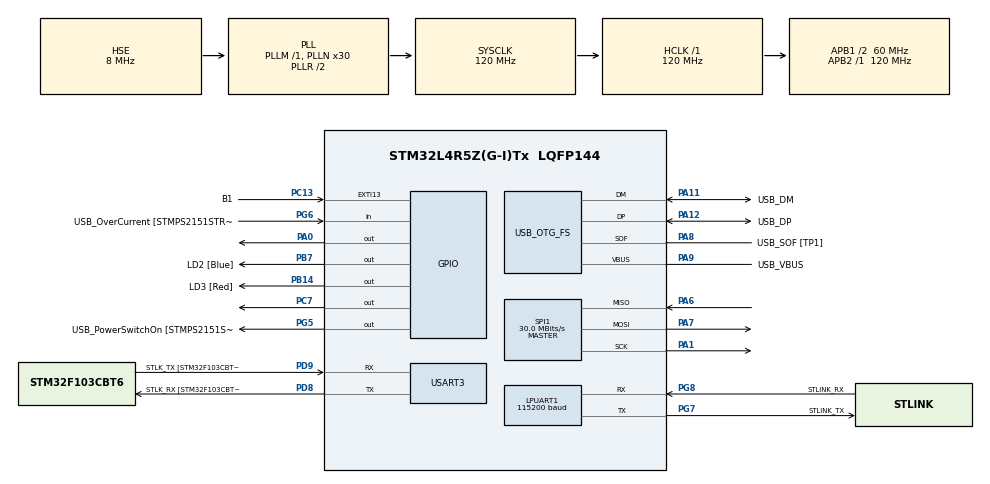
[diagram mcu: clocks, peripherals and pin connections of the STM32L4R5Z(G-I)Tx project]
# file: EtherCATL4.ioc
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LPUART1.BaudRate=115200
LPUART1.WordLength=UART_WORDLENGTH_8B
Mcu.Family=STM32L4
Mcu.Name=STM32L4R5Z(G-I)Tx
Mcu.Package=LQFP144
NVIC.PriorityGroup=NVIC_PRIORITYGROUP_4
PA0.GPIO_PuPd=GPIO_PULLUP
PA0.GPIO_Speed=GPIO_SPEED_FREQ_VERY_HIGH
PA0.PinState=GPIO_PIN_SET
PA0.Signal=GPIO_Output
PA1.Mode=Full_Duplex_Master
PA1.Signal=SPI1_SCK
PA10.GPIO_Label=USB_ID
PA10.Signal=USB_OTG_FS_ID
PA11.GPIO_Label=USB_DM
PA11.Mode=Device_Only
PA11.Signal=USB_OTG_FS_DM
PA12.GPIO_Label=USB_DP
PA12.Mode=Device_Only
PA12.Signal=USB_OTG_FS_DP
PA13\ (JTMS/SWDIO).GPIO_Label=TMS
PA13\ (JTMS/SWDIO).Mode=Trace_Asynchronous_SW
PA13\ (JTMS/SWDIO).Signal=SYS_JTMS-SWDIO
PA14\ (JTCK/SWCLK).GPIO_Label=TCK
PA14\ (JTCK/SWCLK).Mode=Trace_Asynchronous_SW
PA14\ (JTCK/SWCLK).Signal=SYS_JTCK-SWCLK
PA6.Mode=Full_Duplex_Master
PA6.Signal=SPI1_MISO
PA7.Mode=Full_Duplex_Master
PA7.Signal=SPI1_MOSI
PA8.GPIO_Label=USB_SOF [TP1]
PA8.Mode=Activate_SOF_FS
PA8.Signal=USB_OTG_FS_SOF
PA9.GPIO_Label=USB_VBUS
PA9.Mode=Activate_VBUS
PA9.Signal=USB_OTG_FS_VBUS
PB14.GPIO_Label=LD3 [Red]
PB14.GPIO_PuPd=GPIO_PULLUP
PB14.Signal=GPIO_Output
PB3\ (JTDO/TRACESWO).GPIO_Label=SWO
PB3\ (JTDO/TRACESWO).Mode=Trace_Asynchronous_SW
PB3\ (JTDO/TRACESWO).Signal=SYS_JTDO-SWO
PB7.GPIO_Label=LD2 [Blue]
PB7.GPIO_PuPd=GPIO_PULLUP
PB7.Signal=GPIO_Output
PC13.GPIO_Label=B1
PC13.Signal=GPXTI13
PC14-OSC32_IN\ (PC14).Mode=LSE-External-Oscillator
PC14-OSC32_IN\ (PC14).Signal=RCC_OSC32_IN
PC15-OSC32_OUT\ (PC15).Mode=LSE-External-Oscillator
PC15-OSC32_OUT\ (PC15).Signal=RCC_OSC32_OUT
PC7.GPIO_PuPd=GPIO_PULLUP
PC7.Signal=GPIO_Output
PD8.GPIO_Label=STLK_RX [STM32F103CBT6_PA3]
PD8.Mode=Asynchronous
PD8.Signal=USART3_TX
PD9.GPIO_Label=STLK_TX [STM32F103CBT6_PA2]
PD9.Mode=Asynchronous
PD9.Signal=USART3_RX
PG5.GPIO_Label=USB_PowerSwitchOn [STMPS2151STR_EN]
PG5.Signal=GPIO_Output
PG6.GPIO_Label=USB_OverCurrent [STMPS2151STR_FAULT]
PG6.Signal=GPIO_Input
PG7.GPIO_Label=STLINK_TX
PG7.Mode=Asynchronous
PG7.Signal=LPUART1_TX
PG8.GPIO_Label=STLINK_RX
PG8.Mode=Asynchronous
PG8.Signal=LPUART1_RX
PH0-OSC_IN\ (PH0).Mode=HSE-External-Clock-Source
PH0-OSC_IN\ (PH0).Signal=RCC_OSC_IN
PH1-OSC_OUT\ (PH1).Signal=RCC_OSC_OUT
ProjectManager.HeapSize=0x200
ProjectManager.StackSize=0x400
ProjectManager.TargetToolchain=STM32CubeIDE
RCC.48MHZClocksFreq_Value=24000000
RCC.ADCFreq_Value=48000000
RCC.AHBFreq_Value=120000000
RCC.APB1CLKDivider=RCC_HCLK_DIV2
RCC.APB1Freq_Value=60000000
RCC.APB1TimFreq_Value=120000000
RCC.APB2Freq_Value=120000000
RCC.APB2TimFreq_Value=120000000
RCC.CortexFreq_Value=120000000
RCC.HCLKFreq_Value=120000000
RCC.HSE_VALUE=8000000
RCC.HSI48_VALUE=48000000
RCC.HSI_VALUE=16000000
RCC.MSI_VALUE=4000000
RCC.PLLMUL=RCC_PLL_MUL9
RCC.PLLN=30
RCC.PLLSAI1N=12
RCC.PLLSourceVirtual=RCC_PLLSOURCE_HSE
RCC.PRESCALERUSB=RCC_USBCLKSOURCE_PLL_DIV1_5
RCC.SYSCLKFreq_VALUE=120000000
RCC.SYSCLKSource=RCC_SYSCLKSOURCE_PLLCLK
RCC.SYSCLKSourceVirtual=RCC_SYSCLKSOURCE_PLLCLK
RCC.USBFreq_Value=48000000
RCC.VCOOutputFreq_Value=240000000
SPI1.BaudRatePrescaler=SPI_BAUDRATEPRESCALER_4
SPI1.CalculateBaudRate=30.0 MBits/s
SPI1.DataSize=SPI_DATASIZE_8BIT
SPI1.Direction=SPI_DIRECTION_2LINES
SPI1.Mode=SPI_MODE_MASTER
SPI1.VirtualType=VM_MASTER
USART3.VirtualMode-Asynchronous=VM_ASYNC
USB_OTG_FS.VirtualMode=Device_Only
board=NUCLEO-L4R5ZI

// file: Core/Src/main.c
/* USER CODE BEGIN Header */
/**
  ******************************************************************************
  * @file           : main.c
  * @brief          : Main program body
  ******************************************************************************
  * @attention
  *
  * <h2><center>&copy; Copyright (c) 2020 STMicroelectronics.
  * All rights reserved.</center></h2>
  *
  * This software component is licensed by ST under BSD 3-Clause license,
  * the "License"; You may not use this file except in compliance with the
  * License. You may obtain a copy of the License at:
  *                        opensource.org/licenses/BSD-3-Clause
  *
  ******************************************************************************
  */
/* USER CODE END Header */

#include "main.h"

/* USER CODE BEGIN Includes */
#include <stdio.h>							//just add
#include "App\ecat_slv.h"
#include "App\utypes.h"
/* USER CODE END Includes */

UART_HandleTypeDef hlpuart1;
UART_HandleTypeDef huart3;

SPI_HandleTypeDef hspi1;

PCD_HandleTypeDef hpcd_USB_OTG_FS;

/* USER CODE BEGIN PV */
_Objects    Obj;								//Just add

/* USER CODE END PV */

void SystemClock_Config(void);
static void MX_GPIO_Init(void);
static void MX_LPUART1_UART_Init(void);
static void MX_USART3_UART_Init(void);
static void MX_USB_OTG_FS_PCD_Init(void);
static void MX_SPI1_Init(void);
/* USER CODE BEGIN PFP */
void cb_get_inputs (void)					//just add
{
	if (Obj.LEDs.LED0 == 1) {
		Obj.Button_Record.Button1 = 1;
		HAL_GPIO_WritePin(GPIOB, GPIO_PIN_14, GPIO_PIN_SET);
	}
	else {
		Obj.Button_Record.Button1 = 0;
		HAL_GPIO_WritePin(GPIOB, GPIO_PIN_14, GPIO_PIN_RESET);
	}

	if (Obj.LEDs.LED1== 1) {
		Obj.Button_Record.Button2 = 1;
		HAL_GPIO_WritePin(GPIOB, GPIO_PIN_7, GPIO_PIN_SET);
	}
	else {
		Obj.Button_Record.Button2 = 0;
		HAL_GPIO_WritePin(GPIOB, GPIO_PIN_7, GPIO_PIN_RESET);
	}

	Obj.Button_Variable = Obj.Led_Variable;
}

void cb_set_outputs (void)
{
}
/* USER CODE END PFP */

int main(void)
{

  /* MCU Configuration--------------------------------------------------------*/

  /* Reset of all peripherals, Initializes the Flash interface and the Systick. */
  HAL_Init();

  /* Configure the system clock */
  SystemClock_Config();

  /* Initialize all configured peripherals */
  MX_GPIO_Init();
  MX_LPUART1_UART_Init();
  MX_USART3_UART_Init();
  MX_USB_OTG_FS_PCD_Init();
  MX_SPI1_Init();
  /* USER CODE BEGIN 2 */
  static esc_cfg_t config =						//just add
  {
     .user_arg = "/dev/lan9252",
     .use_interrupt = 0,
     .watchdog_cnt = 65000,
     .set_defaults_hook = NULL,
     .pre_state_change_hook = NULL,
     .post_state_change_hook = NULL,
     .application_hook = NULL,
     .safeoutput_override = NULL,
     .pre_object_download_hook = NULL,
     .post_object_download_hook = NULL,
     .rxpdo_override = NULL,
     .txpdo_override = NULL,
     .esc_hw_interrupt_enable = NULL,
     .esc_hw_interrupt_disable = NULL,
     .esc_hw_eep_handler = NULL,
     .esc_check_dc_handler = NULL,
  };

  ecat_slv_init (&config);
  DPRINT("Hello Main\n");

  /* USER CODE END 2 */

  /* Infinite loop */
  /* USER CODE BEGIN WHILE */
  while (1)
  {
	  ecat_slv();								//just add

    /* USER CODE END WHILE */

  }
}

void SystemClock_Config(void)
{
  RCC_OscInitTypeDef RCC_OscInitStruct = {0};
  RCC_ClkInitTypeDef RCC_ClkInitStruct = {0};
  RCC_PeriphCLKInitTypeDef PeriphClkInit = {0};

  /** Configure the main internal regulator output voltage
  */
  if (HAL_PWREx_ControlVoltageScaling(PWR_REGULATOR_VOLTAGE_SCALE1_BOOST) != HAL_OK)
  {
    Error_Handler();
  }
  /** Initializes the CPU, AHB and APB busses clocks
  */
  RCC_OscInitStruct.OscillatorType = RCC_OSCILLATORTYPE_HSE;
  RCC_OscInitStruct.HSEState = RCC_HSE_BYPASS;
  RCC_OscInitStruct.PLL.PLLState = RCC_PLL_ON;
  RCC_OscInitStruct.PLL.PLLSource = RCC_PLLSOURCE_HSE;
  RCC_OscInitStruct.PLL.PLLM = 1;
  RCC_OscInitStruct.PLL.PLLN = 30;
  RCC_OscInitStruct.PLL.PLLP = RCC_PLLP_DIV2;
  RCC_OscInitStruct.PLL.PLLQ = RCC_PLLQ_DIV2;
  RCC_OscInitStruct.PLL.PLLR = RCC_PLLR_DIV2;
  if (HAL_RCC_OscConfig(&RCC_OscInitStruct) != HAL_OK)
  {
    Error_Handler();
  }
  /** Initializes the CPU, AHB and APB busses clocks
  */
  RCC_ClkInitStruct.ClockType = RCC_CLOCKTYPE_HCLK|RCC_CLOCKTYPE_SYSCLK
                              |RCC_CLOCKTYPE_PCLK1|RCC_CLOCKTYPE_PCLK2;
  RCC_ClkInitStruct.SYSCLKSource = RCC_SYSCLKSOURCE_PLLCLK;
  RCC_ClkInitStruct.AHBCLKDivider = RCC_SYSCLK_DIV1;
  RCC_ClkInitStruct.APB1CLKDivider = RCC_HCLK_DIV2;
  RCC_ClkInitStruct.APB2CLKDivider = RCC_HCLK_DIV1;

  if (HAL_RCC_ClockConfig(&RCC_ClkInitStruct, FLASH_LATENCY_5) != HAL_OK)
  {
    Error_Handler();
  }
  PeriphClkInit.PeriphClockSelection = RCC_PERIPHCLK_USART3|RCC_PERIPHCLK_LPUART1
                              |RCC_PERIPHCLK_USB;
  PeriphClkInit.Usart3ClockSelection = RCC_USART3CLKSOURCE_PCLK1;
  PeriphClkInit.Lpuart1ClockSelection = RCC_LPUART1CLKSOURCE_PCLK1;
  PeriphClkInit.UsbClockSelection = RCC_USBCLKSOURCE_PLLSAI1;
  PeriphClkInit.PLLSAI1.PLLSAI1Source = RCC_PLLSOURCE_HSE;
  PeriphClkInit.PLLSAI1.PLLSAI1M = 1;
  PeriphClkInit.PLLSAI1.PLLSAI1N = 12;
  PeriphClkInit.PLLSAI1.PLLSAI1P = RCC_PLLP_DIV2;
  PeriphClkInit.PLLSAI1.PLLSAI1Q = RCC_PLLQ_DIV2;
  PeriphClkInit.PLLSAI1.PLLSAI1R = RCC_PLLR_DIV2;
  PeriphClkInit.PLLSAI1.PLLSAI1ClockOut = RCC_PLLSAI1_48M2CLK;
  if (HAL_RCCEx_PeriphCLKConfig(&PeriphClkInit) != HAL_OK)
  {
    Error_Handler();
  }
}

static void MX_LPUART1_UART_Init(void)
{

  hlpuart1.Instance = LPUART1;
  hlpuart1.Init.BaudRate = 115200;
  hlpuart1.Init.WordLength = UART_WORDLENGTH_8B;
  hlpuart1.Init.StopBits = UART_STOPBITS_1;
  hlpuart1.Init.Parity = UART_PARITY_NONE;
  hlpuart1.Init.Mode = UART_MODE_TX_RX;
  hlpuart1.Init.HwFlowCtl = UART_HWCONTROL_NONE;
  hlpuart1.Init.OneBitSampling = UART_ONE_BIT_SAMPLE_DISABLE;
  hlpuart1.Init.ClockPrescaler = UART_PRESCALER_DIV1;
  hlpuart1.AdvancedInit.AdvFeatureInit = UART_ADVFEATURE_NO_INIT;
  hlpuart1.FifoMode = UART_FIFOMODE_DISABLE;
  if (HAL_UART_Init(&hlpuart1) != HAL_OK)
  {
    Error_Handler();
  }
  if (HAL_UARTEx_SetTxFifoThreshold(&hlpuart1, UART_TXFIFO_THRESHOLD_1_8) != HAL_OK)
  {
    Error_Handler();
  }
  if (HAL_UARTEx_SetRxFifoThreshold(&hlpuart1, UART_RXFIFO_THRESHOLD_1_8) != HAL_OK)
  {
    Error_Handler();
  }

}

static void MX_USART3_UART_Init(void)
{

  huart3.Instance = USART3;
  huart3.Init.BaudRate = 115200;
  huart3.Init.WordLength = UART_WORDLENGTH_8B;
  huart3.Init.StopBits = UART_STOPBITS_1;
  huart3.Init.Parity = UART_PARITY_NONE;
  huart3.Init.Mode = UART_MODE_TX_RX;
  huart3.Init.HwFlowCtl = UART_HWCONTROL_NONE;
  huart3.Init.OverSampling = UART_OVERSAMPLING_16;
  huart3.Init.OneBitSampling = UART_ONE_BIT_SAMPLE_DISABLE;
  huart3.Init.ClockPrescaler = UART_PRESCALER_DIV1;
  huart3.AdvancedInit.AdvFeatureInit = UART_ADVFEATURE_NO_INIT;
  if (HAL_UART_Init(&huart3) != HAL_OK)
  {
    Error_Handler();
  }
  if (HAL_UARTEx_SetTxFifoThreshold(&huart3, UART_TXFIFO_THRESHOLD_1_8) != HAL_OK)
  {
    Error_Handler();
  }
  if (HAL_UARTEx_SetRxFifoThreshold(&huart3, UART_RXFIFO_THRESHOLD_1_8) != HAL_OK)
  {
    Error_Handler();
  }
  if (HAL_UARTEx_DisableFifoMode(&huart3) != HAL_OK)
  {
    Error_Handler();
  }

}

static void MX_SPI1_Init(void)
{

  /* SPI1 parameter configuration*/
  hspi1.Instance = SPI1;
  hspi1.Init.Mode = SPI_MODE_MASTER;
  hspi1.Init.Direction = SPI_DIRECTION_2LINES;
  hspi1.Init.DataSize = SPI_DATASIZE_8BIT;
  hspi1.Init.CLKPolarity = SPI_POLARITY_LOW;
  hspi1.Init.CLKPhase = SPI_PHASE_1EDGE;
  hspi1.Init.NSS = SPI_NSS_SOFT;
  hspi1.Init.BaudRatePrescaler = SPI_BAUDRATEPRESCALER_4;
  hspi1.Init.FirstBit = SPI_FIRSTBIT_MSB;
  hspi1.Init.TIMode = SPI_TIMODE_DISABLE;
  hspi1.Init.CRCCalculation = SPI_CRCCALCULATION_DISABLE;
  hspi1.Init.CRCPolynomial = 7;
  hspi1.Init.CRCLength = SPI_CRC_LENGTH_DATASIZE;
  hspi1.Init.NSSPMode = SPI_NSS_PULSE_ENABLE;
  if (HAL_SPI_Init(&hspi1) != HAL_OK)
  {
    Error_Handler();
  }

}

static void MX_USB_OTG_FS_PCD_Init(void)
{

  hpcd_USB_OTG_FS.Instance = USB_OTG_FS;
  hpcd_USB_OTG_FS.Init.dev_endpoints = 6;
  hpcd_USB_OTG_FS.Init.phy_itface = PCD_PHY_EMBEDDED;
  hpcd_USB_OTG_FS.Init.Sof_enable = ENABLE;
  hpcd_USB_OTG_FS.Init.low_power_enable = DISABLE;
  hpcd_USB_OTG_FS.Init.lpm_enable = DISABLE;
  hpcd_USB_OTG_FS.Init.battery_charging_enable = ENABLE;
  hpcd_USB_OTG_FS.Init.use_dedicated_ep1 = DISABLE;
  hpcd_USB_OTG_FS.Init.vbus_sensing_enable = ENABLE;
  if (HAL_PCD_Init(&hpcd_USB_OTG_FS) != HAL_OK)
  {
    Error_Handler();
  }

}

static void MX_GPIO_Init(void)
{
  GPIO_InitTypeDef GPIO_InitStruct = {0};

  /* GPIO Ports Clock Enable */
  __HAL_RCC_GPIOC_CLK_ENABLE();
  __HAL_RCC_GPIOH_CLK_ENABLE();
  __HAL_RCC_GPIOA_CLK_ENABLE();
  __HAL_RCC_GPIOB_CLK_ENABLE();
  __HAL_RCC_GPIOD_CLK_ENABLE();
  __HAL_RCC_GPIOG_CLK_ENABLE();
  HAL_PWREx_EnableVddIO2();

  /*Configure GPIO pin Output Level */
  HAL_GPIO_WritePin(GPIOA, GPIO_PIN_0, GPIO_PIN_SET);

  /*Configure GPIO pin Output Level */
  HAL_GPIO_WritePin(GPIOB, LD3_Pin|LD2_Pin, GPIO_PIN_RESET);

  /*Configure GPIO pin Output Level */
  HAL_GPIO_WritePin(USB_PowerSwitchOn_GPIO_Port, USB_PowerSwitchOn_Pin, GPIO_PIN_RESET);

  /*Configure GPIO pin Output Level */
  HAL_GPIO_WritePin(GPIOC, GPIO_PIN_7, GPIO_PIN_RESET);

  /*Configure GPIO pin : B1_Pin */
  GPIO_InitStruct.Pin = B1_Pin;
  GPIO_InitStruct.Mode = GPIO_MODE_IT_RISING;
  GPIO_InitStruct.Pull = GPIO_NOPULL;
  HAL_GPIO_Init(B1_GPIO_Port, &GPIO_InitStruct);

  /*Configure GPIO pin : PA0 */
  GPIO_InitStruct.Pin = GPIO_PIN_0;
  GPIO_InitStruct.Mode = GPIO_MODE_OUTPUT_PP;
  GPIO_InitStruct.Pull = GPIO_PULLUP;
  GPIO_InitStruct.Speed = GPIO_SPEED_FREQ_VERY_HIGH;
  HAL_GPIO_Init(GPIOA, &GPIO_InitStruct);

  /*Configure GPIO pins : LD3_Pin LD2_Pin */
  GPIO_InitStruct.Pin = LD3_Pin|LD2_Pin;
  GPIO_InitStruct.Mode = GPIO_MODE_OUTPUT_PP;
  GPIO_InitStruct.Pull = GPIO_PULLUP;
  GPIO_InitStruct.Speed = GPIO_SPEED_FREQ_LOW;
  HAL_GPIO_Init(GPIOB, &GPIO_InitStruct);

  /*Configure GPIO pin : USB_PowerSwitchOn_Pin */
  GPIO_InitStruct.Pin = USB_PowerSwitchOn_Pin;
  GPIO_InitStruct.Mode = GPIO_MODE_OUTPUT_PP;
  GPIO_InitStruct.Pull = GPIO_NOPULL;
  GPIO_InitStruct.Speed = GPIO_SPEED_FREQ_LOW;
  HAL_GPIO_Init(USB_PowerSwitchOn_GPIO_Port, &GPIO_InitStruct);

  /*Configure GPIO pin : USB_OverCurrent_Pin */
  GPIO_InitStruct.Pin = USB_OverCurrent_Pin;
  GPIO_InitStruct.Mode = GPIO_MODE_INPUT;
  GPIO_InitStruct.Pull = GPIO_NOPULL;
  HAL_GPIO_Init(USB_OverCurrent_GPIO_Port, &GPIO_InitStruct);

  /*Configure GPIO pin : PC7 */
  GPIO_InitStruct.Pin = GPIO_PIN_7;
  GPIO_InitStruct.Mode = GPIO_MODE_OUTPUT_PP;
  GPIO_InitStruct.Pull = GPIO_PULLUP;
  GPIO_InitStruct.Speed = GPIO_SPEED_FREQ_LOW;
  HAL_GPIO_Init(GPIOC, &GPIO_InitStruct);

}

void Error_Handler(void)
{
}

/************************ (C) COPYRIGHT STMicroelectronics *****END OF FILE****/
